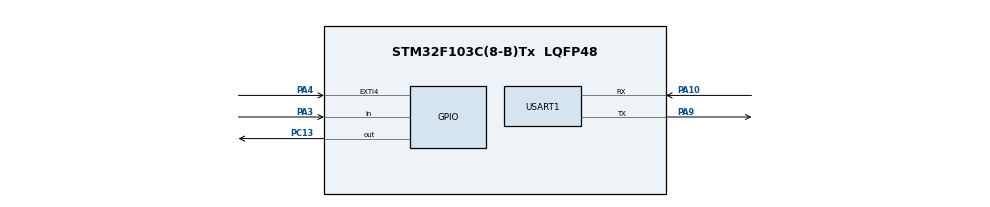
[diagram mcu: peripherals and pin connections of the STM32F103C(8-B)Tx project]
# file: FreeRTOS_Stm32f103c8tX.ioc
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FREERTOS.Tasks01=vLedTask,0,128,StartvLedTask,Default,NULL,Dynamic,NULL,NULL;vSwitchTask,0,128,StartvSwitchTask,Default,NULL,Dynamic,NULL,NULL;vUartTask,0,128,StartvUartTask,Default,NULL,Dynamic,NULL,NULL
FREERTOS.configUSE_NEWLIB_REENTRANT=1
Mcu.Family=STM32F1
Mcu.Name=STM32F103C(8-B)Tx
Mcu.Package=LQFP48
NVIC.EXTI4_IRQn=true\:5\:0\:true\:false\:true\:false\:true\:true\:true
NVIC.PriorityGroup=NVIC_PRIORITYGROUP_4
NVIC.TIM4_IRQn=true\:15\:0\:false\:false\:true\:false\:false\:true\:true
NVIC.TimeBase=TIM4_IRQn
NVIC.TimeBaseIP=TIM4
NVIC.USART1_IRQn=true\:5\:0\:false\:false\:true\:true\:true\:true\:true
PA10.Mode=Asynchronous
PA10.Signal=USART1_RX
PA13.Mode=Serial_Wire
PA13.Signal=SYS_JTMS-SWDIO
PA14.Mode=Serial_Wire
PA14.Signal=SYS_JTCK-SWCLK
PA3.Signal=GPIO_Input
PA4.Signal=GPXTI4
PA9.Mode=Asynchronous
PA9.Signal=USART1_TX
PC13-TAMPER-RTC.Signal=GPIO_Output
PD0-OSC_IN.Mode=HSE-External-Oscillator
PD0-OSC_IN.Signal=RCC_OSC_IN
PD1-OSC_OUT.Mode=HSE-External-Oscillator
PD1-OSC_OUT.Signal=RCC_OSC_OUT
ProjectManager.HeapSize=0x200
ProjectManager.StackSize=0x400
ProjectManager.TargetToolchain=STM32CubeIDE
RCC.APB1Freq_Value=8000000
RCC.APB2Freq_Value=8000000
USART1.VirtualMode=VM_ASYNC
VP_FREERTOS_VS_CMSIS_V1.Mode=CMSIS_V1
VP_SYS_VS_tim4.Mode=TIM4
board=custom

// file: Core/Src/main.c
/* USER CODE BEGIN Header */
/**
  ******************************************************************************
  * @file           : main.c
  * @brief          : Main program body
  ******************************************************************************
  * @attention
  *
  * Copyright (c) 2024 STMicroelectronics.
  * All rights reserved.
  *
  * This software is licensed under terms that can be found in the LICENSE file
  * in the root directory of this software component.
  * If no LICENSE file comes with this software, it is provided AS-IS.
  *
  ******************************************************************************
  */
/* USER CODE END Header */
#include "main.h"
#include "FreeRTOS.h"
#include "task.h"
#include "queue.h"
#include "string.h"
/* USER CODE BEGIN Includes */
#define LED_PIN GPIO_PIN_13
#define LED_GPIO_PORT GPIOC

#define BUTTON_PIN GPIO_PIN_3
#define BUTTON_GPIO_PORT GPIOA

#define QUEUE_LENGTH 10
#define ITEM_SIZE sizeof(char *)

QueueHandle_t xQueue;
/* USER CODE END Includes */

UART_HandleTypeDef huart1;

void SystemClock_Config(void);
static void MX_GPIO_Init(void);
static void MX_USART1_UART_Init(void);

/* USER CODE BEGIN 0 */
void LedTask(void *pvParameters);
void ButtonTask(void *pvParameters);
void UartTask(void *pvParameters);
/* USER CODE END 0 */

int main(void)
{

  /* MCU Configuration--------------------------------------------------------*/

  /* Reset of all peripherals, Initializes the Flash interface and the Systick. */
  HAL_Init();

  /* Configure the system clock */
  SystemClock_Config();

  /* Initialize all configured peripherals */
  MX_GPIO_Init();
  MX_USART1_UART_Init();
  /* USER CODE BEGIN 2 */
  xQueue = xQueueCreate(QUEUE_LENGTH, ITEM_SIZE);
  if (xQueue == NULL)
  	  {
          // Error handler
      }

  xTaskCreate(LedTask, "LED Task", 128, NULL, 1, NULL);
  xTaskCreate(ButtonTask, "Button Task", 128, NULL, 1, NULL);
  xTaskCreate(UartTask, "UART Task", 128, NULL, 1, NULL);

   vTaskStartScheduler();
  /* USER CODE END 2 */

  /* Infinite loop */
  while (1)
  {

  }
}

void SystemClock_Config(void)
{
  RCC_OscInitTypeDef RCC_OscInitStruct = {0};
  RCC_ClkInitTypeDef RCC_ClkInitStruct = {0};

  /** Initializes the RCC Oscillators according to the specified parameters
  * in the RCC_OscInitTypeDef structure.
  */
  RCC_OscInitStruct.OscillatorType = RCC_OSCILLATORTYPE_HSI;
  RCC_OscInitStruct.HSIState = RCC_HSI_ON;
  RCC_OscInitStruct.HSICalibrationValue = RCC_HSICALIBRATION_DEFAULT;
  RCC_OscInitStruct.PLL.PLLState = RCC_PLL_NONE;
  if (HAL_RCC_OscConfig(&RCC_OscInitStruct) != HAL_OK)
  {
    Error_Handler();
  }

  /** Initializes the CPU, AHB and APB buses clocks
  */
  RCC_ClkInitStruct.ClockType = RCC_CLOCKTYPE_HCLK|RCC_CLOCKTYPE_SYSCLK
                              |RCC_CLOCKTYPE_PCLK1|RCC_CLOCKTYPE_PCLK2;
  RCC_ClkInitStruct.SYSCLKSource = RCC_SYSCLKSOURCE_HSI;
  RCC_ClkInitStruct.AHBCLKDivider = RCC_SYSCLK_DIV1;
  RCC_ClkInitStruct.APB1CLKDivider = RCC_HCLK_DIV1;
  RCC_ClkInitStruct.APB2CLKDivider = RCC_HCLK_DIV1;

  if (HAL_RCC_ClockConfig(&RCC_ClkInitStruct, FLASH_LATENCY_0) != HAL_OK)
  {
    Error_Handler();
  }
}

static void MX_USART1_UART_Init(void)
{

  huart1.Instance = USART1;
  huart1.Init.BaudRate = 115200;
  huart1.Init.WordLength = UART_WORDLENGTH_8B;
  huart1.Init.StopBits = UART_STOPBITS_1;
  huart1.Init.Parity = UART_PARITY_NONE;
  huart1.Init.Mode = UART_MODE_TX_RX;
  huart1.Init.HwFlowCtl = UART_HWCONTROL_NONE;
  huart1.Init.OverSampling = UART_OVERSAMPLING_16;
  if (HAL_UART_Init(&huart1) != HAL_OK)
  {
    Error_Handler();
  }

}

static void MX_GPIO_Init(void)
{
  GPIO_InitTypeDef GPIO_InitStruct = {0};

  /* GPIO Ports Clock Enable */
  __HAL_RCC_GPIOC_CLK_ENABLE();
  __HAL_RCC_GPIOD_CLK_ENABLE();
  __HAL_RCC_GPIOA_CLK_ENABLE();

  /*Configure GPIO pin Output Level */
  HAL_GPIO_WritePin(GPIOC, GPIO_PIN_13, GPIO_PIN_RESET);

  /*Configure GPIO pin : PC13 */
  GPIO_InitStruct.Pin = GPIO_PIN_13;
  GPIO_InitStruct.Mode = GPIO_MODE_OUTPUT_PP;
  GPIO_InitStruct.Pull = GPIO_NOPULL;
  GPIO_InitStruct.Speed = GPIO_SPEED_FREQ_LOW;
  HAL_GPIO_Init(GPIOC, &GPIO_InitStruct);

  /*Configure GPIO pin : PA3 */
  GPIO_InitStruct.Pin = GPIO_PIN_3;
  GPIO_InitStruct.Mode = GPIO_MODE_INPUT;
  GPIO_InitStruct.Pull = GPIO_PULLDOWN;
  HAL_GPIO_Init(GPIOA, &GPIO_InitStruct);

}

/* USER CODE BEGIN 4 */
void LedTask(void *pvParameters)
{
    char *message;
    for (;;) {
        if (xQueueReceive(xQueue, &message, portMAX_DELAY) == pdPASS) {
            if (strcmp(message, "TOGGLE") == 0) {
                HAL_GPIO_TogglePin(LED_GPIO_PORT, LED_PIN);
            } else if (strcmp(message, "ON") == 0) {
                HAL_GPIO_WritePin(LED_GPIO_PORT, LED_PIN, GPIO_PIN_SET);
            } else if (strcmp(message, "OFF") == 0) {
                HAL_GPIO_WritePin(LED_GPIO_PORT, LED_PIN, GPIO_PIN_RESET);
            }
        }
    }
}

void ButtonTask(void *pvParameters)
{
    static GPIO_PinState lastState = GPIO_PIN_RESET;
    GPIO_PinState currentState;
    for (;;) {
        currentState = HAL_GPIO_ReadPin(BUTTON_GPIO_PORT, BUTTON_PIN);
        if (currentState != lastState) {
            if (currentState == GPIO_PIN_SET) {
                char *msg = "TOGGLE";
                xQueueSend(xQueue, &msg, 0);
            }
            lastState = currentState;
        }
        vTaskDelay(pdMS_TO_TICKS(50));
    }
}

void UartTask(void *pvParameters)
{
    char *uartMsg;
    char recvChar;
    for (;;) {
        if (HAL_UART_Receive(&huart1, (uint8_t *)&recvChar, 1, HAL_MAX_DELAY) == HAL_OK) {
            switch(recvChar) {
                case '\r':
                case '\n':
                    if (uartMsg != NULL) {
                        xQueueSend(xQueue, &uartMsg, 0);
                        uartMsg = NULL;
                    }
                    break;
                default:
                    // Accumulate characters to form a command word
                    strncat(uartMsg, &recvChar, 1);
                    break;
            }
        }
    }
}
/* USER CODE END 4 */

void HAL_TIM_PeriodElapsedCallback(TIM_HandleTypeDef *htim)
{
  if (htim->Instance == TIM4) {
    HAL_IncTick();
  }
}

void Error_Handler(void)
{
  __disable_irq();
  while (1)
  {
  }
}
